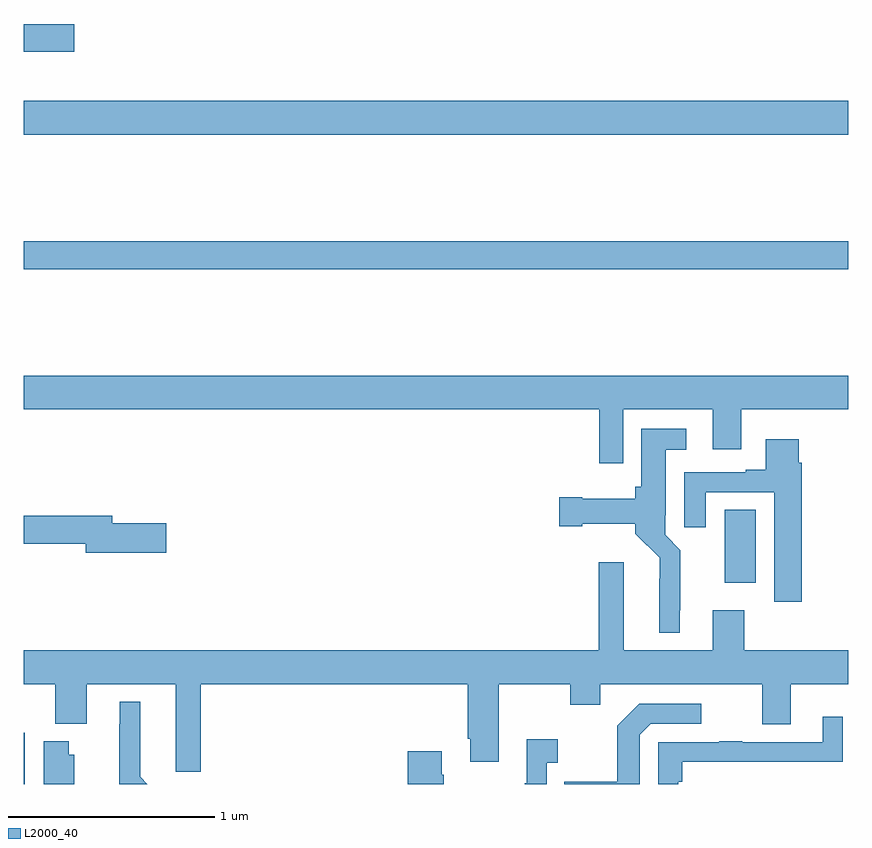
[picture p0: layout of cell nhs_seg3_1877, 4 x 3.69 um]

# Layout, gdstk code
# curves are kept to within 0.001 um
import gdstk
lib = gdstk.Library(unit=1e-6, precision=1e-09)
def R(c, l, rs):  # rectangles x0, y0, x1, y1
    for r in rs: c.add(gdstk.rectangle(r[:2], r[2:], *l))
def P(c, l, *ps):  # polygons
    for p in ps: c.add(gdstk.Polygon(p, *l))
L2000_40 = (2000, 40)

nhs_seg3_1877 = lib.new_cell('nhs_seg3_1877')
R(nhs_seg3_1877, L2000_40, [(207,732.4,207.007,732.649), (210.401,733.377,210.55,733.73), (207,734.896,211,735.032), (207,735.548,211,735.712), (207,735.95,207.247,736.085)])
P(nhs_seg3_1877, L2000_40, [(209.907,734.216),(210.341,734.216),(210.341,734.022),(210.481,734.022),(210.481,734.216),(211,734.216),(211,734.38),(207,734.38),(207,734.216),(209.791,734.216),(209.791,733.956),(209.907,733.956)],
  [(210.181,733.243),(210.185,733.243),(210.185,733.534),(210.111,733.608),(210.111,733.702),(210.115,733.702),(210.115,734.021),(210.214,734.021),(210.214,734.122),(209.996,734.122),(209.996,733.842),(209.966,733.842),(209.966,733.783),(209.71,733.783),(209.71,733.791),(209.598,733.791),(209.598,733.649),(209.71,733.649),(209.71,733.661),(209.966,733.661),(209.966,733.614),(210.084,733.496),(210.083,733.133),(210.181,733.133)],
  [(210.773,733.958),(210.76,733.958),(210.76,734.071),(210.599,734.071),(210.599,733.924),(210.503,733.924),(210.503,733.911),(210.203,733.911),(210.203,733.644),(210.307,733.644),(210.307,733.815),(210.641,733.815),(210.641,733.284),(210.773,733.284)],
  [(207.691,733.664),(207.43,733.664),(207.43,733.7),(207,733.7),(207,733.564),(207.302,733.564),(207.302,733.522),(207.691,733.522)],
  [(207,732.884),(207.155,732.884),(207.155,732.692),(207.307,732.692),(207.307,732.884),(207.737,732.884),(207.737,732.459),(207.86,732.459),(207.86,732.884),(209.153,732.884),(209.153,732.619),(209.165,732.619),(209.165,732.507),(209.305,732.507),(209.305,732.884),(209.65,732.884),(209.65,732.785),(209.797,732.785),(209.797,732.884),(210.581,732.884),(210.581,732.69),(210.721,732.69),(210.721,732.884),(211,732.884),(211,733.048),(210.494,733.048),(210.494,733.243),(210.341,733.243),(210.341,733.048),(209.911,733.048),(209.911,733.474),(209.789,733.474),(209.789,733.048),(207,733.048)],
  [(207.565,732.436),(207.565,732.799),(207.467,732.799),(207.467,732.689),(207.463,732.689),(207.463,732.4),(207.601,732.4)],
  [(209.988,732.639),(210.042,732.693),(210.286,732.693),(210.286,732.789),(209.985,732.789),(209.88,732.683),(209.88,732.411),(209.623,732.411),(209.623,732.4),(209.988,732.4)],
  [(210.174,732.41),(210.194,732.41),(210.194,732.507),(210.869,732.507),(210.869,732.508),(210.971,732.508),(210.971,732.727),(210.875,732.727),(210.875,732.603),(210.485,732.603),(210.485,732.608),(210.373,732.608),(210.373,732.603),(210.078,732.603),(210.078,732.4),(210.174,732.4)],
  [(209.538,732.503),(209.59,732.503),(209.59,732.616),(209.441,732.616),(209.441,732.403),(209.43,732.403),(209.43,732.4),(209.538,732.4)],
  [(207.247,732.543),(207.22,732.543),(207.22,732.607),(207.098,732.607),(207.098,732.4),(207.247,732.4)],
  [(209.037,732.446),(209.029,732.446),(209.029,732.559),(208.862,732.559),(208.862,732.4),(209.037,732.4)])

lib.write_gds('nhs_seg3_1877.gds')
